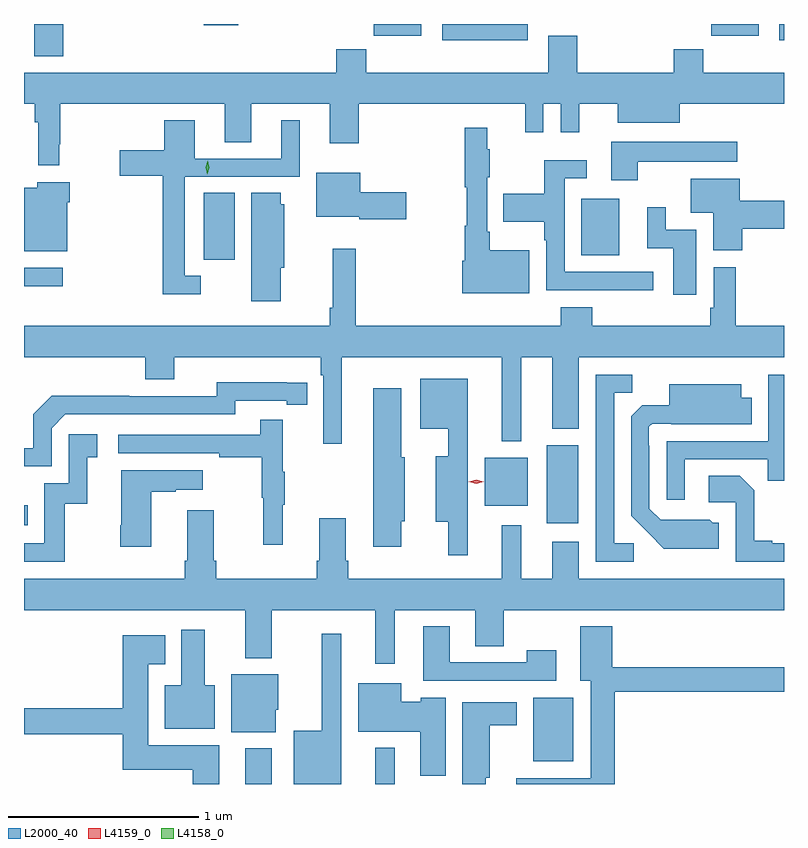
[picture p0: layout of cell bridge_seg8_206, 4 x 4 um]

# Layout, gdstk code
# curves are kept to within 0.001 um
import gdstk
lib = gdstk.Library(unit=1e-6, precision=1e-09)
def R(c, l, rs):  # rectangles x0, y0, x1, y1
    for r in rs: c.add(gdstk.rectangle(r[:2], r[2:], *l))
def P(c, l, *ps):  # polygons
    for p in ps: c.add(gdstk.Polygon(p, *l))
L2000_40 = (2000, 40)
L4158_0 = (4158, 0)
L4159_0 = (4159, 0)

bridge_seg8_206 = lib.new_cell('bridge_seg8_206')
R(bridge_seg8_206, L2000_40, [(170.435,1111.589,170.575,1111.777), (171.119,1111.589,171.223,1111.78), (171.95,1111.709,172.162,1112.044), (169.271,1112.952,169.292,1113.057), (172.022,1112.961,172.189,1113.373), (171.695,1113.053,171.922,1113.307), (169.271,1114.209,169.474,1114.305), (170.216,1114.347,170.38,1114.7), (172.205,1114.373,172.405,1114.669), (169.325,1115.418,169.478,1115.589), (171.471,1115.504,171.922,1115.589), (173.247,1115.504,173.271,1115.589), (171.112,1115.526,171.361,1115.589), (172.888,1115.526,173.137,1115.589), (170.216,1115.583,170.399,1115.589)])
P(bridge_seg8_206, L2000_40, [(169.456,1114.957),(169.463,1114.957),(169.463,1115.168),(170.327,1115.168),(170.327,1114.966),(170.467,1114.966),(170.467,1115.168),(170.879,1115.168),(170.879,1114.962),(171.032,1114.962),(171.032,1115.168),(171.908,1115.168),(171.908,1115.019),(172.005,1115.019),(172.005,1115.168),(172.095,1115.168),(172.095,1115.019),(172.193,1115.019),(172.193,1115.168),(172.397,1115.168),(172.397,1115.069),(172.723,1115.069),(172.723,1115.168),(173.271,1115.168),(173.271,1115.332),(172.847,1115.332),(172.847,1115.456),(172.691,1115.456),(172.691,1115.332),(172.184,1115.332),(172.184,1115.527),(172.031,1115.527),(172.031,1115.332),(171.071,1115.332),(171.071,1115.456),(170.915,1115.456),(170.915,1115.332),(169.271,1115.332),(169.271,1115.168),(169.327,1115.168),(169.327,1115.072),(169.347,1115.072),(169.347,1114.845),(169.456,1114.845)],
  [(170.2,1114.263),(170.118,1114.263),(170.118,1114.785),(170.722,1114.785),(170.722,1115.083),(170.624,1115.083),(170.624,1114.881),(170.17,1114.881),(170.17,1115.083),(170.009,1115.083),(170.009,1114.924),(169.776,1114.924),(169.776,1114.79),(170.002,1114.79),(170.002,1114.166),(170.2,1114.166)],
  [(171.931,1114.399),(171.721,1114.399),(171.721,1114.495),(171.708,1114.495),(171.708,1114.783),(171.721,1114.783),(171.721,1114.931),(171.71,1114.931),(171.71,1115.044),(171.592,1115.044),(171.592,1114.731),(171.6,1114.731),(171.6,1114.526),(171.592,1114.526),(171.592,1114.343),(171.578,1114.343),(171.578,1114.172),(171.931,1114.172)],
  [(172.501,1114.865),(173.026,1114.865),(173.026,1114.969),(172.361,1114.969),(172.361,1114.767),(172.501,1114.767)],
  [(172.582,1114.284),(172.116,1114.284),(172.116,1114.776),(172.234,1114.776),(172.234,1114.873),(172.008,1114.873),(172.008,1114.695),(171.793,1114.695),(171.793,1114.547),(172.008,1114.547),(172.008,1114.451),(172.02,1114.451),(172.02,1114.188),(172.345,1114.188),(172.345,1114.187),(172.582,1114.187)],
  [(171.283,1114.704),(171.04,1114.704),(171.04,1114.807),(170.81,1114.807),(170.81,1114.574),(171.036,1114.574),(171.036,1114.562),(171.283,1114.562)],
  [(173.051,1114.511),(173.271,1114.511),(173.271,1114.658),(173.038,1114.658),(173.038,1114.774),(172.781,1114.774),(172.781,1114.595),(172.898,1114.595),(172.898,1114.398),(173.051,1114.398)],
  [(169.498,1114.652),(169.511,1114.652),(169.511,1114.756),(169.34,1114.756),(169.34,1114.726),(169.271,1114.726),(169.271,1114.394),(169.498,1114.394)],
  [(170.623,1114.305),(170.641,1114.305),(170.641,1114.641),(170.623,1114.641),(170.623,1114.7),(170.468,1114.7),(170.468,1114.131),(170.623,1114.131)],
  [(172.81,1114.506),(172.648,1114.506),(172.648,1114.624),(172.55,1114.624),(172.55,1114.41),(172.688,1114.41),(172.688,1114.164),(172.81,1114.164)],
  [(170.944,1113.836),(171.785,1113.836),(171.785,1113.392),(171.889,1113.392),(171.889,1113.836),(172.052,1113.836),(172.052,1113.458),(172.192,1113.458),(172.192,1113.836),(173.271,1113.836),(173.271,1114),(173.018,1114),(173.018,1114.309),(172.902,1114.309),(172.902,1114.096),(172.882,1114.096),(172.882,1114),(172.262,1114),(172.262,1114.099),(172.097,1114.099),(172.097,1114),(171.017,1114),(171.017,1114.405),(170.896,1114.405),(170.896,1114.096),(170.881,1114.096),(170.881,1114),(169.271,1114),(169.271,1113.836),(169.91,1113.836),(169.91,1113.719),(170.062,1113.719),(170.062,1113.836),(170.834,1113.836),(170.834,1113.74),(170.847,1113.74),(170.847,1113.381),(170.944,1113.381)],
  [(172.749,1113.297),(173.185,1113.297),(173.185,1113.184),(173.271,1113.184),(173.271,1113.744),(173.187,1113.744),(173.187,1113.393),(172.653,1113.393),(172.653,1113.084),(172.749,1113.084)],
  [(172.48,1112.856),(172.377,1112.856),(172.377,1113.649),(172.473,1113.649),(172.473,1113.744),(172.281,1113.744),(172.281,1112.76),(172.48,1112.76)],
  [(171.607,1113.721),(171.356,1113.721),(171.356,1113.458),(171.503,1113.458),(171.503,1113.313),(171.437,1113.313),(171.437,1112.969),(171.503,1112.969),(171.503,1112.793),(171.607,1112.793)],
  [(169.416,1113.462),(169.488,1113.534),(170.382,1113.534),(170.382,1113.606),(170.654,1113.606),(170.654,1113.586),(170.762,1113.586),(170.762,1113.702),(170.286,1113.703),(170.286,1113.63),(169.826,1113.63),(169.826,1113.632),(169.418,1113.632),(169.32,1113.534),(169.32,1113.357),(169.271,1113.357),(169.271,1113.261),(169.416,1113.261)],
  [(172.927,1112.964),(172.896,1112.964),(172.88,1112.98),(172.623,1112.979),(172.563,1113.039),(172.563,1113.368),(172.56,1113.368),(172.56,1113.468),(172.578,1113.486),(172.678,1113.486),(172.678,1113.482),(173.102,1113.482),(173.102,1113.622),(173.047,1113.622),(173.047,1113.694),(172.667,1113.694),(172.667,1113.583),(172.526,1113.583),(172.467,1113.524),(172.467,1113.002),(172.639,1112.828),(172.927,1112.828)],
  [(171.256,1112.973),(171.274,1112.973),(171.274,1113.309),(171.256,1113.309),(171.256,1113.673),(171.11,1113.673),(171.11,1112.838),(171.256,1112.838)],
  [(170.633,1113.059),(170.644,1113.059),(170.644,1113.233),(170.633,1113.233),(170.633,1113.505),(170.515,1113.505),(170.515,1113.426),(169.767,1113.426),(169.767,1113.33),(170.299,1113.33),(170.299,1113.31),(170.523,1113.31),(170.523,1113.096),(170.53,1113.096),(170.53,1112.847),(170.633,1112.847)],
  [(169.486,1113.063),(169.604,1113.063),(169.604,1113.309),(169.657,1113.309),(169.657,1113.43),(169.506,1113.43),(169.506,1113.171),(169.377,1113.171),(169.377,1112.856),(169.271,1112.856),(169.271,1112.76),(169.486,1112.76)],
  [(169.942,1113.127),(170.069,1113.127),(170.069,1113.137),(170.212,1113.137),(170.212,1113.241),(169.784,1113.241),(169.784,1112.95),(169.777,1112.95),(169.777,1112.838),(169.942,1112.838)],
  [(173.271,1112.856),(173.209,1112.856),(173.209,1112.869),(173.115,1112.869),(173.115,1113.136),(173.039,1113.212),(172.875,1113.212),(172.875,1113.072),(173.016,1113.072),(173.016,1112.76),(173.271,1112.76)],
  [(171.223,1112.504),(171.647,1112.504),(171.647,1112.314),(171.795,1112.314),(171.795,1112.504),(173.271,1112.504),(173.271,1112.668),(172.192,1112.668),(172.192,1112.863),(172.052,1112.863),(172.052,1112.668),(171.889,1112.668),(171.889,1112.95),(171.785,1112.95),(171.785,1112.668),(170.978,1112.668),(170.978,1112.764),(170.965,1112.764),(170.965,1112.989),(170.825,1112.989),(170.825,1112.764),(170.813,1112.764),(170.813,1112.668),(170.282,1112.668),(170.282,1112.764),(170.269,1112.764),(170.269,1113.031),(170.129,1113.031),(170.129,1112.764),(170.117,1112.764),(170.117,1112.668),(169.271,1112.668),(169.271,1112.504),(170.435,1112.504),(170.435,1112.252),(170.575,1112.252),(170.575,1112.504),(171.119,1112.504),(171.119,1112.223),(171.223,1112.223)],
  [(172.379,1112.074),(173.271,1112.074),(173.271,1112.203),(172.366,1112.203),(172.366,1112.419),(172.199,1112.419),(172.199,1112.132),(172.253,1112.132),(172.253,1111.62),(171.861,1111.62),(171.861,1111.589),(172.379,1111.589)],
  [(172.072,1112.293),(171.916,1112.293),(171.916,1112.229),(171.511,1112.229),(171.511,1112.419),(171.371,1112.419),(171.371,1112.133),(172.072,1112.133)],
  [(170.275,1112.11),(170.221,1112.11),(170.221,1112.401),(170.099,1112.401),(170.099,1112.11),(170.012,1112.11),(170.012,1111.88),(170.275,1111.88)],
  [(170.941,1112.38),(170.837,1112.38),(170.837,1111.87),(170.69,1111.87),(170.69,1111.589),(170.941,1111.589)],
  [(170.299,1111.792),(169.924,1111.792),(169.924,1112.219),(170.014,1112.219),(170.014,1112.371),(169.79,1112.371),(169.79,1111.988),(169.271,1111.988),(169.271,1111.852),(169.79,1111.852),(169.79,1111.664),(170.159,1111.664),(170.159,1111.589),(170.299,1111.589)],
  [(170.596,1111.98),(170.608,1111.98),(170.608,1112.167),(170.363,1112.167),(170.363,1111.862),(170.596,1111.862)],
  [(171.49,1112.044),(171.36,1112.044),(171.36,1112.023),(171.256,1112.023),(171.256,1112.119),(171.029,1112.119),(171.029,1111.865),(171.356,1111.865),(171.356,1111.633),(171.49,1111.633)],
  [(171.7,1111.623),(171.721,1111.623),(171.721,1111.898),(171.865,1111.898),(171.865,1112.02),(171.578,1112.02),(171.578,1111.589),(171.7,1111.589)])
P(bridge_seg8_206, L4158_0, [(170.236,1114.797),(170.235,1114.798),(170.227,1114.834),(170.238,1114.869),(170.239,1114.869),(170.239,1114.869),(170.247,1114.833),(170.236,1114.798)])
P(bridge_seg8_206, L4159_0, [(171.651,1113.17),(171.611,1113.18),(171.611,1113.18),(171.611,1113.18),(171.651,1113.19),(171.691,1113.18),(171.691,1113.18),(171.691,1113.18)])

lib.write_gds('bridge_seg8_206.gds')
